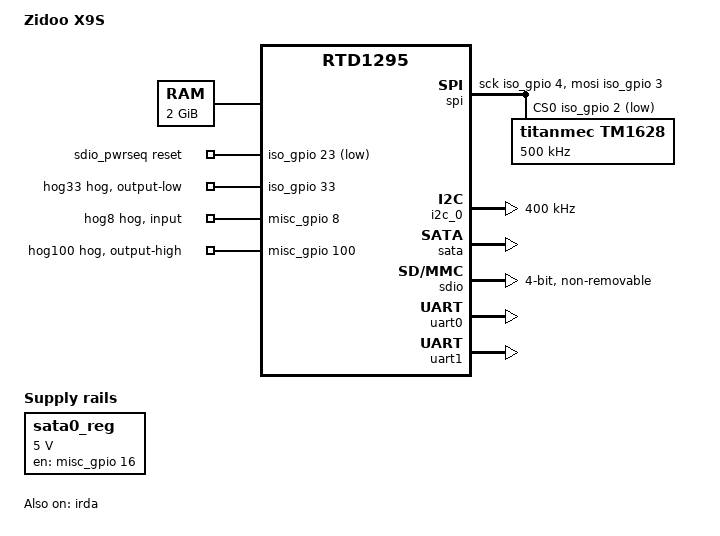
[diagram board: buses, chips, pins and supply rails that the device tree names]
// SPDX-License-Identifier: (GPL-2.0-or-later OR BSD-2-Clause)
/*
 * Copyright (c) 2016-2019 Andreas Färber
 */

/dts-v1/;

#include <dt-bindings/gpio/gpio.h>
#include <dt-bindings/leds/common.h>

#include "rtd1295.dtsi"

/ {
	compatible = "zidoo,x9s", "realtek,rtd1295";
	model = "Zidoo X9S";

	memory@1f000 {
		device_type = "memory";
		reg = <0x1f000 0x7ffe1000>; /* boot ROM to 2 GiB */
	};

	aliases {
		serial0 = &uart0;
		serial1 = &uart1;
	};

	chosen {
		stdout-path = "serial0:115200n8";
	};

	/*firmware {
		optee {
			compatible = "linaro,optee-tz";
			method = "smc";
		};
	};*/

	sdio_pwrseq: sdio-pwrseq {
		compatible = "mmc-pwrseq-simple";
		reset-gpios = <&iso_gpio 23 GPIO_ACTIVE_LOW>;
		power-off-delay-us = <50000>;
		post-power-on-delay-ms = <10>;
	};

	sata0_reg: sata0-regulator {
		compatible = "regulator-fixed";
		regulator-name = "SATA0";
		regulator-min-microvolt = <5000000>;
		regulator-max-microvolt = <5000000>;
		gpio = <&misc_gpio 16 GPIO_ACTIVE_HIGH>;
		enable-active-high;
	};

	spi {
		compatible = "spi-gpio";
		sck-gpios = <&iso_gpio 4 GPIO_ACTIVE_HIGH>;
		mosi-gpios = <&iso_gpio 3 GPIO_ACTIVE_HIGH>;
		cs-gpios = <&iso_gpio 2 GPIO_ACTIVE_LOW>;
		num-chipselects = <1>;
		#address-cells = <1>;
		#size-cells = <0>;

		tm1628: led-controller@0 {
			compatible = "titanmec,tm1628";
			reg = <0>;
			spi-3wire;
			spi-lsb-first;
			spi-rx-delay-us = <1>;
			spi-max-frequency = <500000>;
			#grids = <7>;
			#address-cells = <2>;
			#size-cells = <0>;

			display@0,10 {
				reg = <0 10>, <0 9>, <0 8>, <0 7>;
			};

			colon@5,4 {
				reg = <5 4>;
				color = <LED_COLOR_ID_WHITE>;
				function = LED_FUNCTION_STATUS;
				function-enumerator = <5>;
			};
		};
	};
};

&cpu0 {
	cpu-supply = <&g2227_dcdc2>;
};

&cpu1 {
	cpu-supply = <&g2227_dcdc2>;
};

&cpu2 {
	cpu-supply = <&g2227_dcdc2>;
};

&cpu3 {
	cpu-supply = <&g2227_dcdc2>;
};

/*&gmac {
	status = "okay";
};*/

&i2c_0 {
	status = "okay";
	clock-frequency = <400000>;

#include "rtd129x-g2227.dtsi"
};

&irda {
	status = "okay";
};

&iso_gpio {
	hog33 {
		gpio-hog;
		output-low;
		gpios = <33 GPIO_ACTIVE_HIGH>;
	};
};

&l2 {
	l2-supply = <&g2227_ldo3>;
};

&mali {
	mali-supply = <&g2227_dcdc3>;
};

&misc_gpio {
	hog8 {
		gpio-hog;
		input;
		gpios = <8 GPIO_ACTIVE_HIGH>;
	};

	hog100 {
		gpio-hog;
		output-high;
		gpios = <100 GPIO_ACTIVE_HIGH>;
	};
};

&pcie2 {
	max-link-speed = <1>;
};

&sata {
	status = "okay";
};

&sata0 {
	target-supply = <&sata0_reg>;
};

&sdio {
	status = "okay";
	bus-width = <4>;
	non-removable;
	mmc-pwrseq = <&sdio_pwrseq>;
};

&sdmmc {
	status = "disabled";
	gpios = <&misc_gpio 99 GPIO_ACTIVE_HIGH>;
	bus-width = <4>;
};

&uart0 {
	status = "okay";
};

&uart1 {
	status = "okay";
};
